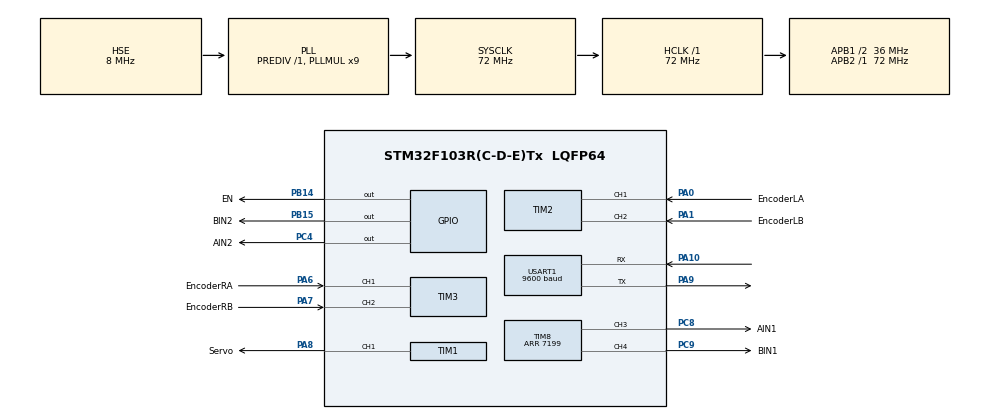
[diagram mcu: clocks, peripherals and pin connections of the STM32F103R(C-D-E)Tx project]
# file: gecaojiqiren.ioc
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Mcu.Family=STM32F1
Mcu.Name=STM32F103R(C-D-E)Tx
Mcu.Package=LQFP64
NVIC.PriorityGroup=NVIC_PRIORITYGROUP_4
NVIC.TIM2_IRQn=true\:0\:0\:false\:false\:true\:true\:true
NVIC.TIM3_IRQn=true\:0\:0\:false\:false\:true\:true\:true
NVIC.TIM4_IRQn=true\:0\:0\:false\:false\:true\:true\:true
NVIC.TIM5_IRQn=true\:0\:0\:false\:false\:true\:true\:true
NVIC.USART1_IRQn=true\:0\:0\:false\:false\:true\:true\:true
PA0-WKUP.GPIO_Label=EncoderLA
PA0-WKUP.Signal=S_TIM2_CH1_ETR
PA1.GPIO_Label=EncoderLB
PA1.Signal=S_TIM2_CH2
PA10.Mode=Asynchronous
PA10.Signal=USART1_RX
PA13.Mode=Serial_Wire
PA13.Signal=SYS_JTMS-SWDIO
PA14.Mode=Serial_Wire
PA14.Signal=SYS_JTCK-SWCLK
PA6.GPIO_Label=EncoderRA
PA6.Signal=S_TIM3_CH1
PA7.GPIO_Label=EncoderRB
PA7.Signal=S_TIM3_CH2
PA8.GPIO_Label=Servo
PA8.Signal=S_TIM1_CH1
PA9.Mode=Asynchronous
PA9.Signal=USART1_TX
PB14.GPIO_Label=EN
PB14.GPIO_PuPd=GPIO_PULLDOWN
PB14.Signal=GPIO_Output
PB15.GPIO_Label=BIN2
PB15.Signal=GPIO_Output
PC14-OSC32_IN.Mode=LSE-External-Oscillator
PC14-OSC32_IN.Signal=RCC_OSC32_IN
PC15-OSC32_OUT.Mode=LSE-External-Oscillator
PC15-OSC32_OUT.Signal=RCC_OSC32_OUT
PC4.GPIO_Label=AIN2
PC4.Signal=GPIO_Output
PC8.GPIO_Label=AIN1
PC8.Signal=S_TIM8_CH3
PC9.GPIO_Label=BIN1
PC9.Signal=S_TIM8_CH4
PD0-OSC_IN.Mode=HSE-External-Oscillator
PD0-OSC_IN.Signal=RCC_OSC_IN
PD1-OSC_OUT.Mode=HSE-External-Oscillator
PD1-OSC_OUT.Signal=RCC_OSC_OUT
ProjectManager.HeapSize=0x200
ProjectManager.StackSize=0x400
ProjectManager.TargetToolchain=MDK-ARM V5.32
RCC.AHBFreq_Value=72000000
RCC.APB1CLKDivider=RCC_HCLK_DIV2
RCC.APB1Freq_Value=36000000
RCC.APB1TimFreq_Value=72000000
RCC.APB2Freq_Value=72000000
RCC.APB2TimFreq_Value=72000000
RCC.HCLKFreq_Value=72000000
RCC.PLLMUL=RCC_PLL_MUL9
RCC.PLLSourceVirtual=RCC_PLLSOURCE_HSE
RCC.SYSCLKFreq_VALUE=72000000
RCC.SYSCLKSource=RCC_SYSCLKSOURCE_PLLCLK
RCC.USBFreq_Value=72000000
SH.S_TIM1_CH1.0=TIM1_CH1,PWM Generation1 CH1
SH.S_TIM2_CH1_ETR.0=TIM2_CH1,Encoder_Interface
SH.S_TIM2_CH2.0=TIM2_CH2,Encoder_Interface
SH.S_TIM3_CH1.0=TIM3_CH1,Encoder_Interface
SH.S_TIM3_CH2.0=TIM3_CH2,Encoder_Interface
SH.S_TIM8_CH3.0=TIM8_CH3,PWM Generation3 CH3
SH.S_TIM8_CH4.0=TIM8_CH4,PWM Generation4 CH4
TIM1.Channel-PWM\ Generation1\ CH1=TIM_CHANNEL_1
TIM1.Period=20000
TIM1.Prescaler=72
TIM2.EncoderMode=TIM_ENCODERMODE_TI12
TIM2.IC1Polarity=TIM_ICPOLARITY_RISING
TIM2.IC2Polarity=TIM_ICPOLARITY_FALLING
TIM3.EncoderMode=TIM_ENCODERMODE_TI12
TIM3.IC1Polarity=TIM_ICPOLARITY_RISING
TIM4.Period=7199
TIM4.Prescaler=199
TIM5.Period=4999
TIM5.Prescaler=7199
TIM8.Channel-PWM\ Generation3\ CH3=TIM_CHANNEL_3
TIM8.Channel-PWM\ Generation4\ CH4=TIM_CHANNEL_4
TIM8.Period=7199
USART1.BaudRate=9600
USART1.VirtualMode=VM_ASYNC
VP_TIM4_VS_ClockSourceINT.Mode=Internal
VP_TIM5_VS_ClockSourceINT.Mode=Internal
board=custom

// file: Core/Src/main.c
/* USER CODE BEGIN Header */
/**
  ******************************************************************************
  * @file           : main.c
  * @brief          : Main program body
  ******************************************************************************
  * @attention
  *
  * Copyright (c) 2024 STMicroelectronics.
  * All rights reserved.
  *
  * This software is licensed under terms that can be found in the LICENSE file
  * in the root directory of this software component.
  * If no LICENSE file comes with this software, it is provided AS-IS.
  *
  ******************************************************************************
  */
/* USER CODE END Header */
#include "main.h"
#include "tim.h"
#include "usart.h"
#include "gpio.h"

/* USER CODE BEGIN Includes */
#include <stdio.h>
#include "car.h"
#include "PID.h"
#include "servo.h"
/* USER CODE END Includes */

/* USER CODE BEGIN PV */
union FloatUnion{
    uint8_t bytes[4];
    float value;
}floatUnion;

uint8_t commandData;
uint8_t receiveSomeData[5] = {0};
float velocityL, velocityR;
uint8_t receiveData;

uint8_t sendDataState = 0;

uint16_t receiveNum = 0;
/* USER CODE END PV */

void SystemClock_Config(void);

/* USER CODE BEGIN 0 */
int8_t encoderLCnt = 0, encoderRCnt = 0;
int32_t actualEncoderLNum, actualEncoderRNum;
/* USER CODE END 0 */

int main(void)
{

  /* MCU Configuration--------------------------------------------------------*/

  /* Reset of all peripherals, Initializes the Flash interface and the Systick. */
  HAL_Init();

  /* Configure the system clock */
  SystemClock_Config();

  /* Initialize all configured peripherals */
  MX_GPIO_Init();
  MX_TIM1_Init();
  MX_TIM2_Init();
  MX_TIM3_Init();
  MX_USART1_UART_Init();
  MX_TIM8_Init();
  MX_TIM4_Init();
  MX_TIM5_Init();
  /* USER CODE BEGIN 2 */
	HAL_TIM_Encoder_Start_IT(&htim2, TIM_CHANNEL_ALL);
	HAL_TIM_Encoder_Start_IT(&htim3, TIM_CHANNEL_ALL);
	__HAL_TIM_ENABLE_IT(&htim2, TIM_IT_UPDATE);
	__HAL_TIM_ENABLE_IT(&htim3, TIM_IT_UPDATE);

	HAL_TIM_PWM_Start(&htim8, TIM_CHANNEL_3); //AIN1
	HAL_TIM_PWM_Start(&htim8, TIM_CHANNEL_4); //BIN1

	HAL_TIM_PWM_Start(&htim1, TIM_CHANNEL_1); //Servo

	HAL_TIM_Base_Start_IT(&htim4);

	HAL_TIM_Base_Start_IT(&htim5);

	encoderLCnt = 0;
	encoderRCnt = 0;

	servoCtl(90);

	HAL_UART_Receive_IT(&huart1, &receiveData, 1);

	HAL_GPIO_WritePin(EN_GPIO_Port, EN_Pin, GPIO_PIN_SET);

//	car_oneWheel_go(2000, LEFT_WHEEL);
//	car_oneWheel_go(2000, RIGHT_WHEEL);

  /* USER CODE END 2 */

  /* Infinite loop */
  /* USER CODE BEGIN WHILE */
  while (1)
  {
		if(sendDataState == 1)
			{
				sendVelocityData();
				sendDataState = 0;
			}

		HAL_Delay(5);
    /* USER CODE END WHILE */

  }
}

void SystemClock_Config(void)
{
  RCC_OscInitTypeDef RCC_OscInitStruct = {0};
  RCC_ClkInitTypeDef RCC_ClkInitStruct = {0};

  /** Initializes the RCC Oscillators according to the specified parameters
  * in the RCC_OscInitTypeDef structure.
  */
  RCC_OscInitStruct.OscillatorType = RCC_OSCILLATORTYPE_HSE;
  RCC_OscInitStruct.HSEState = RCC_HSE_ON;
  RCC_OscInitStruct.HSEPredivValue = RCC_HSE_PREDIV_DIV1;
  RCC_OscInitStruct.HSIState = RCC_HSI_ON;
  RCC_OscInitStruct.PLL.PLLState = RCC_PLL_ON;
  RCC_OscInitStruct.PLL.PLLSource = RCC_PLLSOURCE_HSE;
  RCC_OscInitStruct.PLL.PLLMUL = RCC_PLL_MUL9;
  if (HAL_RCC_OscConfig(&RCC_OscInitStruct) != HAL_OK)
  {
    Error_Handler();
  }
  /** Initializes the CPU, AHB and APB buses clocks
  */
  RCC_ClkInitStruct.ClockType = RCC_CLOCKTYPE_HCLK|RCC_CLOCKTYPE_SYSCLK
                              |RCC_CLOCKTYPE_PCLK1|RCC_CLOCKTYPE_PCLK2;
  RCC_ClkInitStruct.SYSCLKSource = RCC_SYSCLKSOURCE_PLLCLK;
  RCC_ClkInitStruct.AHBCLKDivider = RCC_SYSCLK_DIV1;
  RCC_ClkInitStruct.APB1CLKDivider = RCC_HCLK_DIV2;
  RCC_ClkInitStruct.APB2CLKDivider = RCC_HCLK_DIV1;

  if (HAL_RCC_ClockConfig(&RCC_ClkInitStruct, FLASH_LATENCY_2) != HAL_OK)
  {
    Error_Handler();
  }
}

/* USER CODE BEGIN 4 */
int fputc(int ch, FILE *f)
{
	HAL_UART_Transmit(&huart1, (uint8_t *)&ch, 1, HAL_MAX_DELAY);
	return ch;
}

void HAL_TIM_PeriodElapsedCallback(TIM_HandleTypeDef *htim)
{

	if(htim->Instance == TIM2)
	{
		if(__HAL_TIM_IS_TIM_COUNTING_DOWN(&htim2) == 0) encoderLCnt += 1;
		else encoderLCnt -= 1;
	}

	if(htim->Instance == TIM3)
	{
		if(__HAL_TIM_IS_TIM_COUNTING_DOWN(&htim3) == 0) encoderRCnt += 1;
		else encoderRCnt -= 1;
	}

	if(htim->Instance == TIM4)
	{
		PID_Velocity_Left(velocityL);
		PID_Velocity_Right(velocityR);
	}

	if(htim->Instance == TIM5)
	{
		if(receiveNum == 0)
		{
			velocityL = 0;
			velocityR = 0;
		}
		else receiveNum = 0;
	}
}

void Clear_Data(uint8_t * dat)
{
	uint8_t i;

	for(i = 0; i < 5; i++) dat[i] = 0;
}

void HAL_UART_RxCpltCallback(UART_HandleTypeDef *huart)
{
		static uint8_t state, datanum;
//		uint8_t i;

		if(huart->Instance == USART1)
		{
			if(state == 0 && receiveData == 0x56) //56
			{
				state = 1;
			}
			else if(state == 1 && receiveData == 0x91) //91
			{
				state = 2;
			}
			else if(state == 2)
			{
				receiveSomeData[datanum++] = receiveData;
				if(datanum == 5) state = 3;
			}
			else if(state == 3 && receiveData == 0x11) //11
			{
//				for(i = 0; i < 5; i++) printf(" %x ", receiveSomeData[i]);
				state = 0;
				datanum = 0;

				commandData = receiveSomeData[0];

				if(commandData == 0xaa)
				{
					floatUnion.bytes[0] = receiveSomeData[1];
					floatUnion.bytes[1] = receiveSomeData[2];
					floatUnion.bytes[2] = receiveSomeData[3];
					floatUnion.bytes[3] = receiveSomeData[4];

					velocityL = floatUnion.value;
					receiveNum++;
//					printf("\r\n velocityL: %.2f commandData: %x ", velocityL, commandData);
				}
				else if(commandData == 0xbb)
				{
					floatUnion.bytes[0] = receiveSomeData[1];
					floatUnion.bytes[1] = receiveSomeData[2];
					floatUnion.bytes[2] = receiveSomeData[3];
					floatUnion.bytes[3] = receiveSomeData[4];

					velocityR = floatUnion.value;
					receiveNum++;
//					printf("\r\n elocityR: %.2f commandData: %x ", velocityR, commandData);
				}

				else if(commandData == 0xcc)
				{
					sendDataState = 1;
				}

			}
			else
			{
				state = 0;
				datanum = 0;
				Clear_Data(receiveSomeData);
			}
			HAL_UART_Receive_IT(&huart1, &receiveData, 1);
		}
}
/* USER CODE END 4 */

void Error_Handler(void)
{
  __disable_irq();
  while (1)
  {
  }
}
